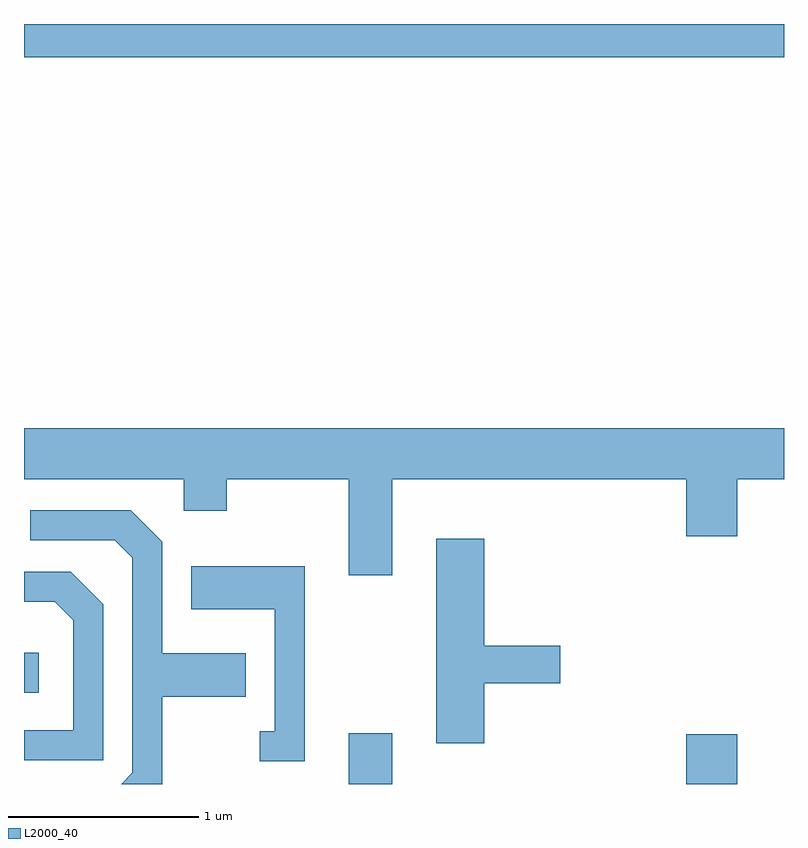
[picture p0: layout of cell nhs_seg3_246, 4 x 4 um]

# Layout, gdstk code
import gdstk
lib = gdstk.Library(unit=1e-6, precision=1e-09)
def R(c, l, rs):  # rectangles x0, y0, x1, y1
    for r in rs: c.add(gdstk.rectangle(r[:2], r[2:], *l))
def P(c, l, *ps):  # polygons
    for p in ps: c.add(gdstk.Polygon(p, *l))
L2000_40 = (2000, 40)

nhs_seg3_246 = lib.new_cell('nhs_seg3_246')
R(nhs_seg3_246, L2000_40, [(193.321,1199.892,193.549,1200.159), (195.096,1199.892,195.364,1200.154), (191.611,1200.371,191.689,1200.584), (191.611,1203.716,195.611,1203.892)])
P(nhs_seg3_246, L2000_40, [(193.549,1201.496),(195.096,1201.496),(195.096,1201.196),(195.364,1201.196),(195.364,1201.496),(195.611,1201.496),(195.611,1201.764),(191.611,1201.764),(191.611,1201.496),(192.451,1201.496),(192.451,1201.331),(192.679,1201.331),(192.679,1201.496),(193.321,1201.496),(193.321,1200.991),(193.549,1200.991)],
  [(192.339,1200.351),(192.779,1200.351),(192.779,1200.579),(192.339,1200.579),(192.339,1201.167),(192.172,1201.334),(191.643,1201.334),(191.643,1201.176),(192.089,1201.176),(192.181,1201.084),(192.181,1199.952),(192.122,1199.892),(192.339,1199.892)],
  [(194.034,1200.421),(194.434,1200.421),(194.434,1200.619),(194.034,1200.619),(194.034,1201.184),(193.781,1201.184),(193.781,1200.106),(194.034,1200.106)],
  [(193.089,1201.039),(192.491,1201.039),(192.491,1200.811),(192.931,1200.811),(192.931,1200.169),(192.853,1200.169),(192.853,1200.011),(193.089,1200.011)],
  [(192.029,1200.837),(191.857,1201.009),(191.611,1201.009),(191.611,1200.851),(191.774,1200.851),(191.871,1200.754),(191.871,1200.174),(191.611,1200.174),(191.611,1200.016),(192.029,1200.016)])

lib.write_gds('nhs_seg3_246.gds')
